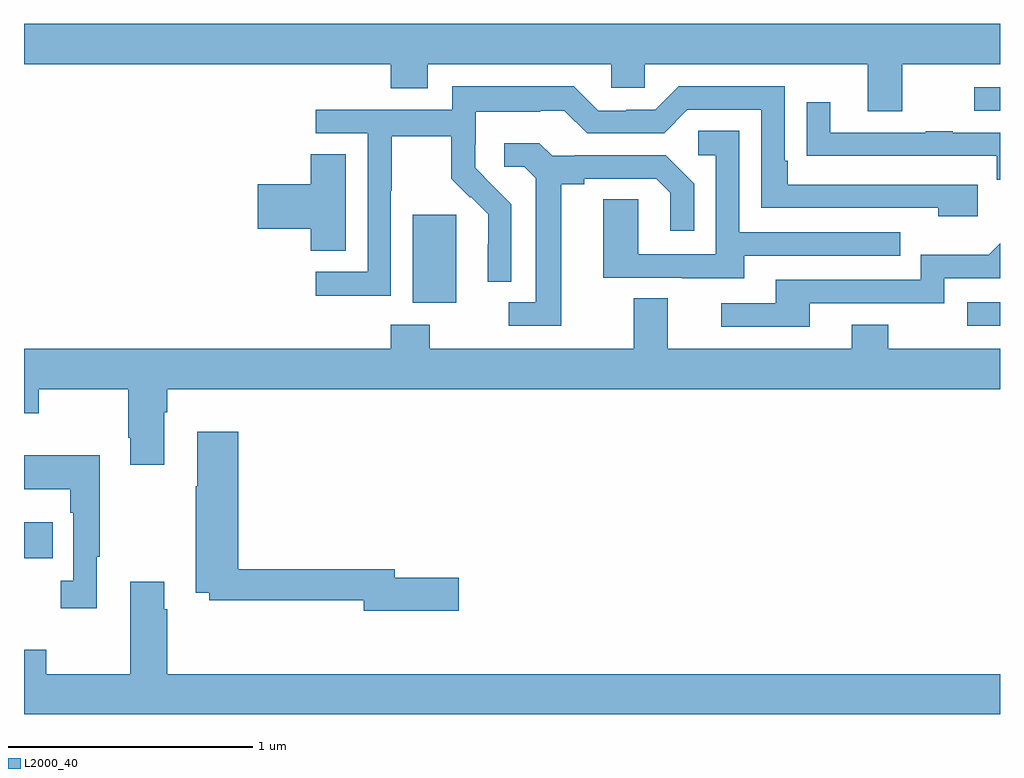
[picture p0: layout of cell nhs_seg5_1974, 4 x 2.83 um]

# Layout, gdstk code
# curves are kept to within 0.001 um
import gdstk
lib = gdstk.Library(unit=1e-6, precision=1e-09)
def R(c, l, rs):  # rectangles x0, y0, x1, y1
    for r in rs: c.add(gdstk.rectangle(r[:2], r[2:], *l))
def P(c, l, *ps):  # polygons
    for p in ps: c.add(gdstk.Polygon(p, *l))
L2000_40 = (2000, 40)

nhs_seg5_1974 = lib.new_cell('nhs_seg5_1974')
R(nhs_seg5_1974, L2000_40, [(227,880.042,227.117,880.189), (230.865,880.995,231,881.091), (228.593,881.09,228.772,881.451), (230.895,881.877,231,881.973)])
P(nhs_seg5_1974, L2000_40, [(230.599,882.068),(231,882.068),(231,882.232),(227,882.232),(227,882.068),(228.503,882.068),(228.503,881.969),(228.655,881.969),(228.655,882.068),(229.407,882.068),(229.407,881.97),(229.545,881.97),(229.545,882.068),(230.459,882.068),(230.459,881.874),(230.599,881.874)],
  [(228.504,881.548),(228.507,881.548),(228.507,881.772),(228.751,881.772),(228.751,881.597),(228.828,881.52),(228.831,881.523),(228.902,881.453),(228.902,881.33),(228.9,881.33),(228.9,881.176),(228.996,881.176),(228.996,881.494),(228.85,881.642),(228.85,881.739),(228.852,881.739),(228.852,881.873),(229.115,881.873),(229.115,881.877),(229.215,881.877),(229.308,881.784),(229.623,881.784),(229.719,881.88),(230.022,881.88),(230.022,881.478),(230.747,881.478),(230.747,881.444),(230.908,881.444),(230.908,881.574),(230.131,881.574),(230.131,881.671),(230.118,881.671),(230.118,881.976),(229.683,881.976),(229.587,881.88),(229.469,881.88),(229.469,881.877),(229.353,881.877),(229.253,881.977),(228.756,881.977),(228.756,881.88),(228.195,881.88),(228.195,881.784),(228.408,881.784),(228.408,881.217),(228.195,881.217),(228.195,881.119),(228.504,881.119)],
  [(231,881.787),(230.807,881.787),(230.807,881.792),(230.695,881.792),(230.695,881.787),(230.305,881.787),(230.305,881.911),(230.209,881.911),(230.209,881.692),(230.311,881.692),(230.311,881.691),(230.986,881.691),(230.986,881.594),(231,881.594)],
  [(229.951,881.283),(230.591,881.283),(230.591,881.379),(229.932,881.379),(229.932,881.795),(229.764,881.795),(229.764,881.694),(229.836,881.694),(229.836,881.289),(229.518,881.289),(229.518,881.513),(229.373,881.513),(229.373,881.193),(229.697,881.193),(229.697,881.189),(229.951,881.189)],
  [(229.201,881.576),(229.297,881.576),(229.297,881.598),(229.592,881.598),(229.649,881.541),(229.649,881.385),(229.746,881.385),(229.746,881.578),(229.63,881.694),(229.258,881.694),(229.258,881.691),(229.164,881.691),(229.112,881.743),(228.969,881.743),(228.969,881.646),(229.05,881.646),(229.097,881.599),(229.097,881.091),(228.987,881.091),(228.987,880.995),(229.201,880.995)],
  [(228.319,881.699),(228.176,881.699),(228.176,881.576),(227.958,881.576),(227.958,881.393),(228.176,881.393),(228.176,881.302),(228.319,881.302)],
  [(230.221,881.088),(230.772,881.088),(230.772,881.19),(231,881.19),(231,881.334),(230.953,881.287),(230.676,881.287),(230.676,881.184),(230.081,881.184),(230.081,881.088),(229.857,881.088),(229.857,880.992),(230.221,880.992)],
  [(227.575,880.64),(227.588,880.64),(227.588,880.736),(231,880.736),(231,880.9),(230.541,880.9),(230.541,880.999),(230.393,880.999),(230.393,880.9),(229.639,880.9),(229.639,881.108),(229.499,881.108),(229.499,880.9),(228.663,880.9),(228.663,880.999),(228.503,880.999),(228.503,880.9),(227,880.9),(227,880.637),(227.061,880.637),(227.061,880.736),(227.428,880.736),(227.428,880.537),(227.435,880.537),(227.435,880.425),(227.575,880.425)],
  [(228.781,879.962),(228.52,879.962),(228.52,879.998),(227.879,879.998),(227.879,880.561),(227.711,880.561),(227.711,880.337),(227.704,880.337),(227.704,879.902),(227.76,879.902),(227.76,879.87),(228.392,879.87),(228.392,879.827),(228.781,879.827)],
  [(227.299,880.049),(227.311,880.049),(227.311,880.465),(227,880.465),(227,880.325),(227.19,880.325),(227.19,880.229),(227.202,880.229),(227.202,879.95),(227.151,879.95),(227.151,879.837),(227.299,879.837)],
  [(231,879.568),(227.588,879.568),(227.588,879.833),(227.575,879.833),(227.575,879.946),(227.435,879.946),(227.435,879.568),(227.091,879.568),(227.091,879.667),(227,879.667),(227,879.404),(231,879.404)])

lib.write_gds('nhs_seg5_1974.gds')
